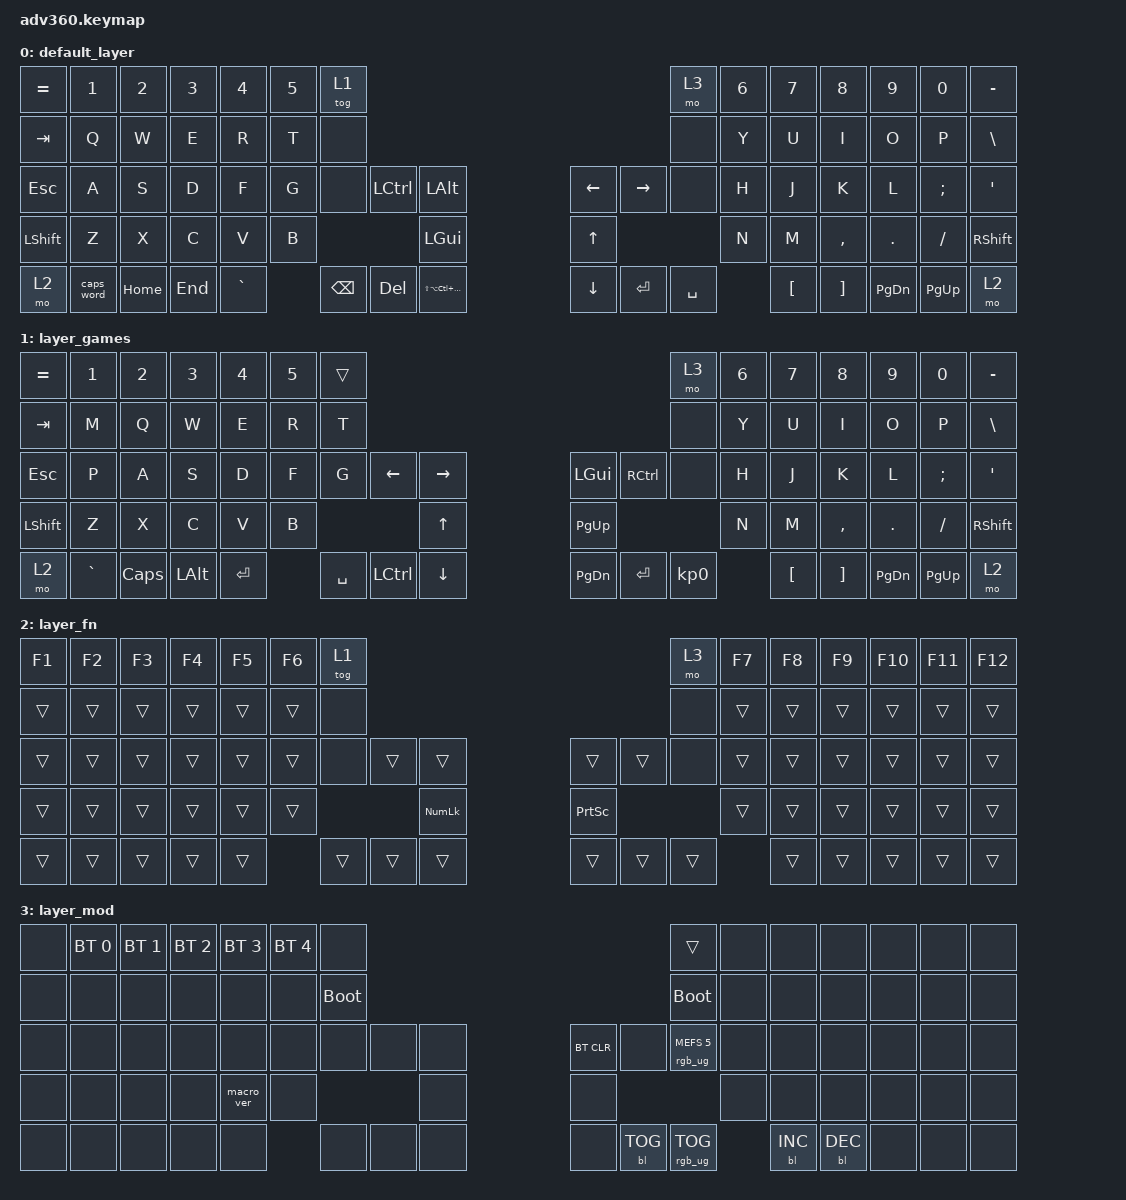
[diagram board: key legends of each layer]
/*
 * Copyright (c) 2020 The ZMK Contributors
 *
 * SPDX-License-Identifier: MIT
 */
/* THIS FILE WAS GENERATED!
 *
 * This file was generated automatically. You may or may not want to
 * edit it directly.
 */

#include <behaviors.dtsi>
#include <dt-bindings/zmk/backlight.h>
#include <dt-bindings/zmk/bt.h>
#include <dt-bindings/zmk/keys.h>
#include <dt-bindings/zmk/rgb.h>

/ {
    behaviors {
        #include "macros.dtsi"
    #include "version.dtsi"

        hm: homerow_mods {
            compatible = "zmk,behavior-hold-tap";
            label = "HOMEROW_MODS";
            #binding-cells = <2>;
            tapping-term-ms = <200>;
            quick_tap_ms = <175>;
            flavor = "tap-preferred";
            bindings = <&kp>, <&kp>;
        };
    };

    keymap {
        compatible = "zmk,keymap";

        default_layer {
            bindings = <
&kp EQUAL  &kp N1      &kp N2    &kp N3   &kp N4     &kp N5  &tog 1                                                                      &mo 3      &kp N6  &kp N7    &kp N8     &kp N9     &kp N0     &kp MINUS
&kp TAB    &kp Q       &kp W     &kp E    &kp R      &kp T   &none                                                                       &none      &kp Y   &kp U     &kp I      &kp O      &kp P      &kp BSLH
&kp ESC    &kp A       &kp S     &kp D    &kp F      &kp G   &none     &kp LCTRL  &kp LALT                          &kp LEFT  &kp RIGHT  &none      &kp H   &kp J     &kp K      &kp L      &kp SEMI   &kp SQT
&kp LSHFT  &kp Z       &kp X     &kp C    &kp V      &kp B                        &kp LGUI                          &kp UP                          &kp N   &kp M     &kp COMMA  &kp DOT    &kp FSLH   &kp RSHFT
&mo 2      &caps_word  &kp HOME  &kp END  &kp GRAVE          &kp BSPC  &kp DEL    &kp LS(LA(LC(LG(LEFT_GUI))))      &kp DOWN  &kp ENTER  &kp SPACE          &kp LBKT  &kp RBKT   &kp PG_DN  &kp PG_UP  &mo 2
            >;
        };

        layer_games {
            bindings = <
&kp EQUAL  &kp N1     &kp N2    &kp N3        &kp N4     &kp N5  &trans                                                                &mo 3      &kp N6  &kp N7    &kp N8     &kp N9      &kp N0         &kp MINUS
&kp TAB    &kp M      &kp Q     &kp W         &kp E      &kp R   &kp T                                                                 &none      &kp Y   &kp U     &kp I      &kp O       &kp P          &kp BSLH
&kp ESC    &kp P      &kp A     &kp S         &kp D      &kp F   &kp G      &kp LEFT_ARROW  &kp RIGHT_ARROW      &kp LGUI   &kp RCTRL  &none      &kp H   &kp J     &kp K      &kp L       &kp SEMICOLON  &kp SQT
&kp LSHFT  &kp Z      &kp X     &kp C         &kp V      &kp B                              &kp UP_ARROW         &kp PG_UP                        &kp N   &kp M     &kp COMMA  &kp PERIOD  &kp SLASH      &kp RSHFT
&mo 2      &kp GRAVE  &kp CAPS  &kp LEFT_ALT  &kp ENTER          &kp SPACE  &kp LCTRL       &kp DOWN             &kp PG_DN  &kp ENTER  &kp KP_N0          &kp LBKT  &kp RBKT   &kp PG_DN   &kp PG_UP      &mo 2
            >;
        };

        layer_fn {
            bindings = <
&kp F1  &kp F2  &kp F3  &kp F4  &kp F5  &kp F6  &tog 1                                                       &mo 3   &kp F7  &kp F8  &kp F9  &kp F10  &kp F11  &kp F12
&trans  &trans  &trans  &trans  &trans  &trans  &none                                                        &none   &trans  &trans  &trans  &trans   &trans   &trans
&trans  &trans  &trans  &trans  &trans  &trans  &none   &trans  &trans              &trans           &trans  &none   &trans  &trans  &trans  &trans   &trans   &trans
&trans  &trans  &trans  &trans  &trans  &trans                  &kp KP_NUMLOCK      &kp PRINTSCREEN                  &trans  &trans  &trans  &trans   &trans   &trans
&trans  &trans  &trans  &trans  &trans          &trans  &trans  &trans              &trans           &trans  &trans          &trans  &trans  &trans   &trans   &trans
            >;
        };

        layer_mod {
            bindings = <
&none  &bt BT_SEL 0  &bt BT_SEL 1  &bt BT_SEL 2  &bt BT_SEL 3  &bt BT_SEL 4  &none                                                  &trans                  &none  &none       &none       &none  &none  &none
&none  &none         &none         &none         &none         &none         &bootloader                                            &bootloader             &none  &none       &none       &none  &none  &none
&none  &none         &none         &none         &none         &none         &none        &none  &none      &bt BT_CLR  &none       &rgb_ug RGB_MEFS_CMD 5  &none  &none       &none       &none  &none  &none
&none  &none         &none         &none         &macro_ver    &none                             &none      &none                                           &none  &none       &none       &none  &none  &none
&none  &none         &none         &none         &none                       &none        &none  &none      &none       &bl BL_TOG  &rgb_ug RGB_TOG                &bl BL_INC  &bl BL_DEC  &none  &none  &none
            >;
        };
    };
};
